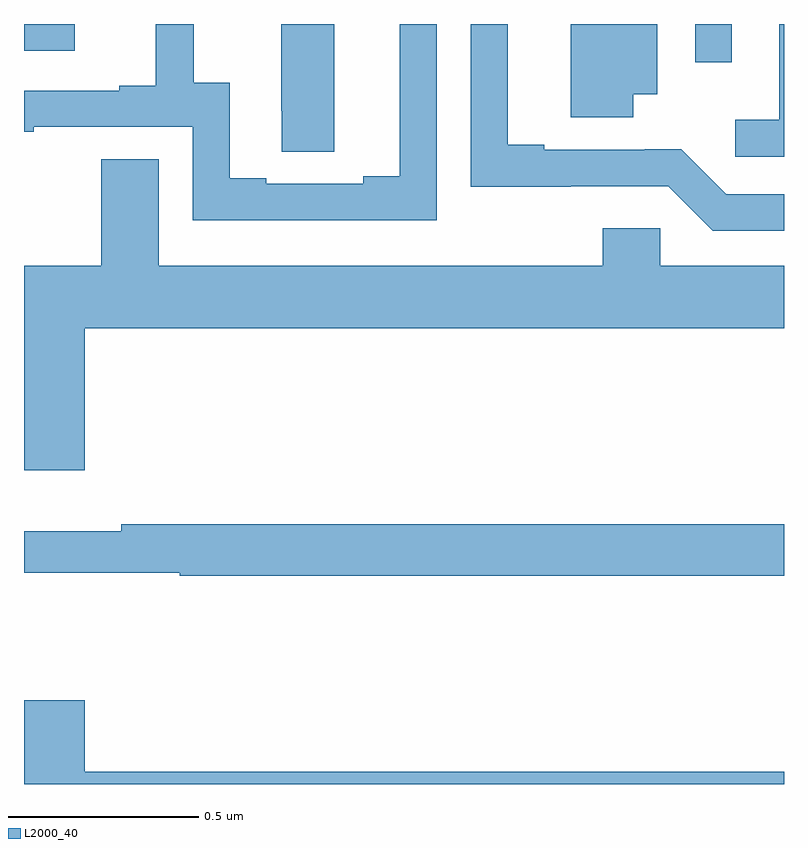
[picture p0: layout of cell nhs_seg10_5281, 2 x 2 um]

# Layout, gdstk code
import gdstk
lib = gdstk.Library(unit=1e-6, precision=1e-09)
def R(c, l, rs):  # rectangles x0, y0, x1, y1
    for r in rs: c.add(gdstk.rectangle(r[:2], r[2:], *l))
def P(c, l, *ps):  # polygons
    for p in ps: c.add(gdstk.Polygon(p, *l))
L2000_40 = (2000, 40)

nhs_seg10_5281 = lib.new_cell('nhs_seg10_5281')
R(nhs_seg10_5281, L2000_40, [(178.767,1250.4,178.863,1250.5), (177,1250.429,177.133,1250.5)])
P(nhs_seg10_5281, L2000_40, [(179,1250.5),(178.988,1250.5),(178.988,1250.248),(178.872,1250.248),(178.872,1250.151),(179,1250.151)],
  [(179,1250.052),(178.848,1250.052),(178.73,1250.17),(178.634,1250.17),(178.634,1250.169),(178.369,1250.169),(178.369,1250.182),(178.273,1250.182),(178.273,1250.5),(178.176,1250.5),(178.176,1250.072),(178.439,1250.072),(178.439,1250.073),(178.695,1250.073),(178.812,1249.956),(179,1249.956)],
  [(177.817,1250.5),(177.677,1250.5),(177.677,1250.272),(177.678,1250.272),(177.678,1250.164),(177.817,1250.164)],
  [(178.603,1250.315),(178.666,1250.315),(178.666,1250.5),(178.439,1250.5),(178.439,1250.254),(178.603,1250.254)],
  [(178.086,1250.5),(177.989,1250.5),(177.989,1250.099),(177.893,1250.099),(177.893,1250.079),(177.637,1250.079),(177.637,1250.094),(177.541,1250.094),(177.541,1250.345),(177.447,1250.345),(177.447,1250.5),(177.347,1250.5),(177.347,1250.338),(177.251,1250.338),(177.251,1250.325),(177,1250.325),(177,1250.217),(177.025,1250.217),(177.025,1250.229),(177.444,1250.229),(177.444,1249.983),(178.086,1249.983)],
  [(177.16,1249.7),(179,1249.7),(179,1249.864),(178.674,1249.864),(178.674,1249.962),(178.523,1249.962),(178.523,1249.864),(177.355,1249.864),(177.355,1250.144),(177.203,1250.144),(177.203,1249.864),(177,1249.864),(177,1249.326),(177.16,1249.326)],
  [(179,1249.184),(177.256,1249.184),(177.256,1249.165),(177,1249.165),(177,1249.056),(177.41,1249.056),(177.41,1249.048),(179,1249.048)],
  [(179,1248.532),(177.16,1248.532),(177.16,1248.721),(177,1248.721),(177,1248.5),(179,1248.5)])

lib.write_gds('nhs_seg10_5281.gds')
